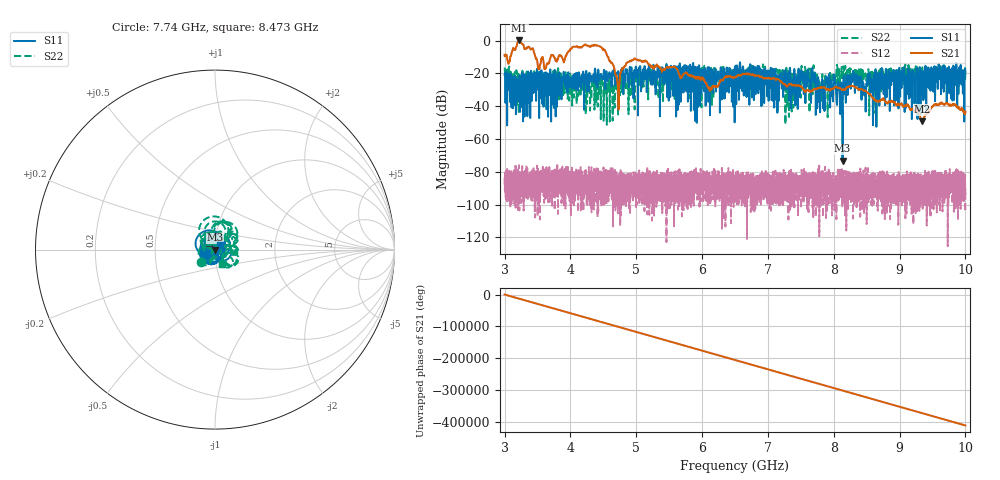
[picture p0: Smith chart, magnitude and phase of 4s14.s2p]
!Agilent Technologies,E8363B,MY43030572,A.06.04.32
!Agilent E8363B: A.06.04.32
!Date: Monday, June 06, 2011 14:53:35
!Correction: S11(Full 2 Port(1,2)) S21(Full 2 Port(1,2)) S12(Full 2 Port(1,2)) S22(Full 2 Port(1,2))
!S2P File: Measurements: S11, S21, S12, S22:
# Hz S  dB  R 50
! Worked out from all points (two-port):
!   6401 points, 3 GHz to 10 GHz, reference 50 ohm
!   highest |S21| = 0.14 dB at 3.222 GHz (marker M1); lowest = -49.2 dB at 9.339 GHz (marker M2)
!   |S21| within 3 dB of the highest: 3.185 GHz to 3.289 GHz (104 MHz wide, 3.21 % of centre); 4.202 GHz to 4.246 GHz (43.97 MHz wide, 1.04 % of centre)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
!   lowest |S11| = -73.2 dB at 8.134 GHz (marker M3), VSWR 1.00, Z = 50 - j0.0217 ohm
!   |S11| at or under -10 dB: start of sweep to end of sweep
!   |S22| runs from -51.3 to -14.2 dB; largest |S21 - S12| = 1
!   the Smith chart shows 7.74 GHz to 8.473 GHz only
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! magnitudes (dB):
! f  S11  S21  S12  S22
! 3 GHz  -20.8  -8.8  -88.1  -16.4
! 3.071 GHz  -20.2  -12.3  -96.0  -16.0
! 3.222 GHz  -21.6  0.1  -86.9  -21.3
! 3.63 GHz  -20.4  -15.8  -89.0  -19.1
! 4.167 GHz  -22.5  -4.2  -86.7  -24.2
! 4.495 GHz  -23.7  -5.5  -80.6  -25.9
! 4.718 GHz  -19.0  -26.8  -82.5  -28.9
! 4.956 GHz  -26.2  -11.8  -80.3  -24.6
! 5.334 GHz  -19.3  -15.8  -88.5  -30.0
! 6.117 GHz  -23.5  -30.6  -86.7  -20.4
! 6.5 GHz  -19.1  -22.3  -85.3  -21.7
! 7.352 GHz  -29.1  -26.2  -96.0  -20.4
! 7.667 GHz  -17.9  -30.8  -96.0  -18.8
! 7.829 GHz  -23.9  -28.6  -86.9  -20.7
! 7.904 GHz  -26.7  -29.8  -87.1  -32.1
! 8.134 GHz  -73.2  -30.0  -85.0  -24.0
! 8.275 GHz  -22.5  -27.5  -90.4  -20.1
! 8.455 GHz  -27.1  -30.7  -88.0  -21.9
! 8.834 GHz  -19.4  -37.0  -83.4  -21.1
! 9.339 GHz  -32.7  -49.2  -86.0  -15.8
! 9.623 GHz  -18.7  -38.5  -86.0  -15.5
! 10 GHz  -19.2  -43.2  -95.3  -19.8
